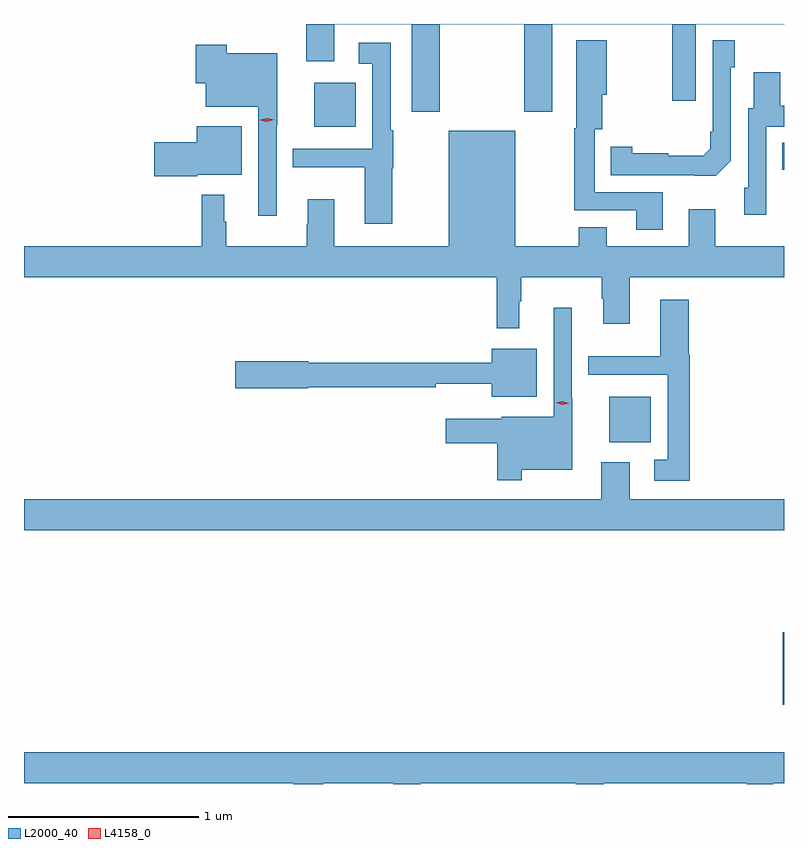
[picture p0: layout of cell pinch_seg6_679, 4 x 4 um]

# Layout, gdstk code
import gdstk
lib = gdstk.Library(unit=1e-6, precision=1e-09)
def R(c, l, rs):  # rectangles x0, y0, x1, y1
    for r in rs: c.add(gdstk.rectangle(r[:2], r[2:], *l))
def P(c, l, *ps):  # polygons
    for p in ps: c.add(gdstk.Polygon(p, *l))
L2000_40 = (2000, 40)
L4158_0 = (4158, 0)

pinch_seg6_679 = lib.new_cell('pinch_seg6_679')
R(pinch_seg6_679, L2000_40, [(461.258,950.415,461.265,950.796), (460.346,951.797,460.564,952.036), (461.257,953.229,461.265,953.372), (458.792,953.456,459.01,953.689)])
P(pinch_seg6_679, L2000_40, [(459.453,953.996),(459.898,953.996),(459.898,953.535),(460.045,953.535),(460.045,953.996),(460.678,953.996),(460.678,953.592),(460.801,953.592),(460.801,953.996),(461.265,953.996),(461.265,953.997),(457.265,953.997),(457.265,953.996),(458.75,953.996),(458.75,953.802),(458.899,953.802),(458.899,953.996),(459.305,953.996),(459.305,953.535),(459.453,953.535)],
  [(460.986,953.277),(460.986,953.769),(461.007,953.769),(461.007,953.911),(460.89,953.911),(460.89,953.431),(460.878,953.431),(460.878,953.341),(460.84,953.303),(460.655,953.303),(460.655,953.318),(460.465,953.318),(460.465,953.35),(460.354,953.35),(460.354,953.202),(460.796,953.202),(460.796,953.199),(460.907,953.199)],
  [(460.627,953.112),(460.269,953.112),(460.269,953.444),(460.308,953.444),(460.308,953.624),(460.333,953.624),(460.333,953.911),(460.172,953.911),(460.172,953.448),(460.161,953.448),(460.161,953.016),(460.487,953.016),(460.487,952.914),(460.627,952.914)],
  [(459.204,953.237),(459.208,953.237),(459.208,953.437),(459.195,953.437),(459.195,953.899),(459.027,953.899),(459.027,953.789),(459.099,953.789),(459.099,953.34),(458.68,953.34),(458.68,953.243),(459.059,953.243),(459.059,952.947),(459.204,952.947)],
  [(458.595,953.465),(458.597,953.465),(458.597,953.842),(458.332,953.842),(458.332,953.887),(458.168,953.887),(458.168,953.684),(458.222,953.684),(458.222,953.561),(458.499,953.561),(458.499,952.989),(458.595,952.989)],
  [(461.172,953.457),(461.265,953.457),(461.265,953.566),(461.245,953.566),(461.245,953.743),(461.105,953.743),(461.105,953.554),(461.076,953.554),(461.076,953.136),(461.057,953.136),(461.057,952.992),(461.172,952.992)],
  [(458.178,953.204),(458.41,953.204),(458.41,953.458),(458.174,953.458),(458.174,953.375),(457.95,953.375),(457.95,953.197),(458.178,953.197)],
  [(459.872,952.538),(459.883,952.538),(459.883,952.664),(460.306,952.664),(460.306,952.55),(460.313,952.55),(460.313,952.419),(460.453,952.419),(460.453,952.664),(461.265,952.664),(461.265,952.828),(460.903,952.828),(460.903,953.023),(460.763,953.023),(460.763,952.828),(460.333,952.828),(460.333,952.927),(460.186,952.927),(460.186,952.828),(459.85,952.828),(459.85,953.434),(459.5,953.434),(459.5,952.828),(458.899,952.828),(458.899,953.074),(458.759,953.074),(458.759,952.943),(458.752,952.943),(458.752,952.828),(458.329,952.828),(458.329,952.955),(458.318,952.955),(458.318,953.098),(458.2,953.098),(458.2,952.828),(457.265,952.828),(457.265,952.664),(459.754,952.664),(459.754,952.395),(459.872,952.395)],
  [(460.769,952.255),(460.763,952.255),(460.763,952.546),(460.613,952.546),(460.613,952.249),(460.234,952.249),(460.234,952.152),(460.653,952.152),(460.653,951.703),(460.581,951.703),(460.581,951.594),(460.769,951.594)],
  [(459.886,951.65),(460.151,951.65),(460.151,952.027),(460.149,952.027),(460.149,952.504),(460.053,952.504),(460.053,951.931),(459.78,951.931),(459.78,951.919),(459.486,951.919),(459.486,951.79),(459.757,951.79),(459.757,951.597),(459.886,951.597)],
  [(459.964,952.288),(459.728,952.288),(459.728,952.213),(458.76,952.213),(458.76,952.221),(458.376,952.221),(458.376,952.079),(458.76,952.079),(458.76,952.084),(459.432,952.084),(459.432,952.103),(459.728,952.103),(459.728,952.034),(459.964,952.034)],
  [(461.265,951.496),(460.453,951.496),(460.453,951.691),(460.304,951.691),(460.304,951.496),(457.265,951.496),(457.265,951.332),(461.265,951.332)],
  [(458.841,950),(459.208,950),(459.208,949.997),(459.354,949.997),(459.354,950),(460.168,950),(460.168,949.997),(460.315,949.997),(460.315,950),(461.069,950),(461.069,949.997),(461.209,949.997),(461.209,950),(461.265,950),(461.265,950.164),(457.265,950.164),(457.265,950),(458.681,950),(458.681,949.997),(458.841,949.997)])
P(pinch_seg6_679, L4158_0, [(460.098,951.992),(460.063,952.003),(460.063,952.003),(460.063,952.003),(460.099,952.012),(460.134,952),(460.134,952),(460.134,952)],
  [(458.545,953.483),(458.509,953.491),(458.509,953.491),(458.509,953.492),(458.544,953.502),(458.581,953.494),(458.581,953.494),(458.581,953.494)])

lib.write_gds('pinch_seg6_679.gds')
